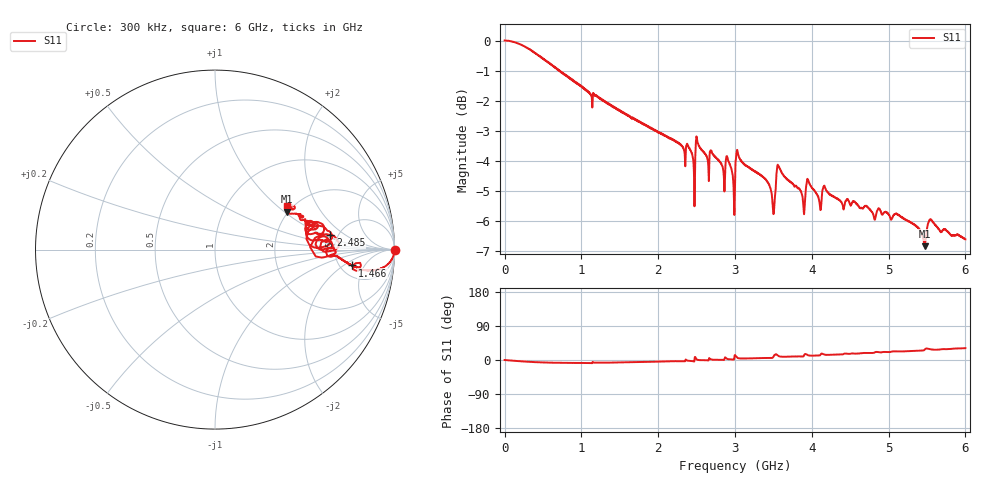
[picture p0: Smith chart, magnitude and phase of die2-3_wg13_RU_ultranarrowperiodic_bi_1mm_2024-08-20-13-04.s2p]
!Keysight Technologies,P9374A,MY57304198,A.17.20.09
!Date: Tuesday, August 20, 2024 13:04:44
!Correction: S11(C  1-Port  )
!S21(C  1-Port  )
!S12(Off)
!S22(Off)
!S2P File: Measurements: S11, S21, S12, S22:
# Hz S  dB  R 50
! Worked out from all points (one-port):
!   6000 points, 300 kHz to 6 GHz, reference 50 ohm
!   lowest |S11| = -6.8 dB at 5.47 GHz (marker M1), VSWR 2.67, Z = 99 + j52.6 ohm
!   |S11| at or under -10 dB: nowhere
!   S11 on the Smith chart (normalised r, x): 300 kHz: open; 1.466 GHz: 6.41, -2.76; 2.485 GHz: 4.34, +1.20; 6 GHz: 1.86, +1.15
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300000  0.00 -0.0  -200.00 45.0  -200.00 45.0  -200.00 45.0
4.353508e8  -0.48 -5.9  -200.00 45.0  -200.00 45.0  -200.00 45.0
1.000417e9  -1.53 -7.8  -200.00 45.0  -200.00 45.0  -200.00 45.0
1.466471e9  -2.29 -6.6  -200.00 45.0  -200.00 45.0  -200.00 45.0
2.000533e9  -3.06 -4.2  -200.00 45.0  -200.00 45.0  -200.00 45.0
2.440585e9  -3.76 -2.6  -200.00 45.0  -200.00 45.0  -200.00 45.0
2.48459e9  -3.76 7.1  -200.00 45.0  -200.00 45.0  -200.00 45.0
2.518594e9  -3.42 0.1  -200.00 45.0  -200.00 45.0  -200.00 45.0
2.891637e9  -3.85 4.0  -200.00 45.0  -200.00 45.0  -200.00 45.0
2.958645e9  -4.33 1.5  -200.00 45.0  -200.00 45.0  -200.00 45.0
3.00065e9  -4.54 13.0  -200.00 45.0  -200.00 45.0  -200.00 45.0
3.045655e9  -3.82 4.6  -200.00 45.0  -200.00 45.0  -200.00 45.0
3.462704e9  -4.92 5.5  -200.00 45.0  -200.00 45.0  -200.00 45.0
3.501709e9  -5.78 9.3  -200.00 45.0  -200.00 45.0  -200.00 45.0
3.536713e9  -4.58 15.2  -200.00 45.0  -200.00 45.0  -200.00 45.0
3.577717e9  -4.23 9.7  -200.00 45.0  -200.00 45.0  -200.00 45.0
3.892754e9  -5.60 9.9  -200.00 45.0  -200.00 45.0  -200.00 45.0
4.000767e9  -4.90 11.5  -200.00 45.0  -200.00 45.0  -200.00 45.0
5.000883e9  -5.79 21.0  -200.00 45.0  -200.00 45.0  -200.00 45.0
5.469938e9  -6.84 27.6  -200.00 45.0  -200.00 45.0  -200.00 45.0
5.56795e9  -6.02 27.5  -200.00 45.0  -200.00 45.0  -200.00 45.0
6e9  -6.61 31.3  -200.00 45.0  -200.00 45.0  -200.00 45.0
